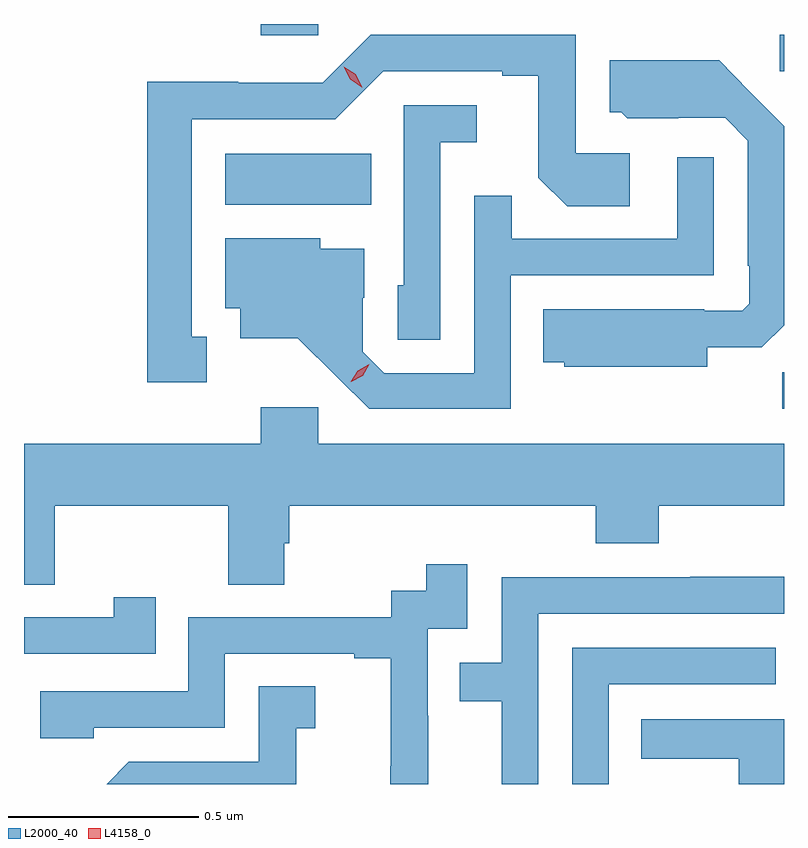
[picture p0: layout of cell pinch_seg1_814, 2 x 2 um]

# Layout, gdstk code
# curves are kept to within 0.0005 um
import gdstk
lib = gdstk.Library(unit=1e-6, precision=1e-09)
def R(c, l, rs):  # rectangles x0, y0, x1, y1
    for r in rs: c.add(gdstk.rectangle(r[:2], r[2:], *l))
def P(c, l, *ps):  # polygons
    for p in ps: c.add(gdstk.Polygon(p, *l))
L2000_40 = (2000, 40)
L4158_0 = (4158, 0)

pinch_seg1_814 = lib.new_cell('pinch_seg1_814')
R(pinch_seg1_814, L2000_40, [(384.592,573.3,384.596,573.395), (383.126,573.836,383.51,573.97), (384.585,574.188,384.596,574.284), (383.219,574.283,383.37,574.312)])
P(pinch_seg1_814, L2000_40, [(383.077,573.489),(383.038,573.489),(383.038,574.062),(383.415,574.062),(383.541,574.188),(383.855,574.188),(383.855,574.176),(383.949,574.176),(383.949,573.908),(384.025,573.832),(384.19,573.832),(384.19,573.972),(384.048,573.972),(384.048,574.284),(383.508,574.284),(383.382,574.158),(383.16,574.158),(383.16,574.16),(382.92,574.16),(382.92,573.369),(383.077,573.369)],
  [(384.394,573.461),(384.538,573.461),(384.596,573.519),(384.596,574.043),(384.425,574.216),(384.137,574.216),(384.137,574.08),(384.168,574.08),(384.184,574.064),(384.318,574.064),(384.318,574.065),(384.441,574.065),(384.501,574.005),(384.501,573.676),(384.504,573.676),(384.504,573.576),(384.486,573.558),(384.386,573.558),(384.386,573.562),(383.962,573.562),(383.962,573.422),(384.018,573.422),(384.018,573.41),(384.394,573.41)],
  [(383.691,574.001),(383.788,574.001),(383.788,574.098),(383.595,574.098),(383.595,573.624),(383.58,573.624),(383.58,573.481),(383.691,573.481)],
  [(383.877,573.651),(384.411,573.651),(384.411,573.961),(384.315,573.961),(384.315,573.747),(383.879,573.747),(383.879,573.86),(383.781,573.86),(383.781,573.393),(383.544,573.393),(383.487,573.45),(383.487,573.592),(383.491,573.592),(383.491,573.721),(383.376,573.721),(383.376,573.748),(383.126,573.748),(383.126,573.564),(383.165,573.564),(383.165,573.485),(383.317,573.485),(383.504,573.3),(383.877,573.3)],
  [(382.596,572.836),(382.677,572.836),(382.677,573.044),(383.134,573.044),(383.134,572.836),(383.281,572.836),(383.281,572.946),(383.294,572.946),(383.294,573.044),(384.101,573.044),(384.101,572.945),(384.266,572.945),(384.266,573.044),(384.596,573.044),(384.596,573.208),(383.37,573.208),(383.37,573.304),(383.219,573.304),(383.219,573.208),(382.596,573.208)],
  [(383.66,572.492),(383.658,572.492),(383.658,572.721),(383.763,572.721),(383.763,572.89),(383.655,572.89),(383.655,572.82),(383.562,572.82),(383.562,572.751),(383.028,572.751),(383.028,572.556),(382.639,572.556),(382.639,572.433),(382.779,572.433),(382.779,572.46),(383.124,572.46),(383.124,572.655),(383.465,572.655),(383.465,572.643),(383.561,572.643),(383.561,572.359),(383.56,572.359),(383.56,572.312),(383.66,572.312)],
  [(383.949,572.76),(384.596,572.76),(384.596,572.858),(384.349,572.858),(384.349,572.856),(383.853,572.856),(383.853,572.631),(383.743,572.631),(383.743,572.53),(383.853,572.53),(383.853,572.312),(383.949,572.312)],
  [(382.943,572.803),(382.832,572.803),(382.832,572.751),(382.596,572.751),(382.596,572.655),(382.943,572.655)],
  [(384.135,572.574),(384.574,572.574),(384.574,572.67),(384.039,572.67),(384.039,572.312),(384.135,572.312)],
  [(383.313,572.459),(383.362,572.459),(383.362,572.569),(383.214,572.569),(383.214,572.37),(382.872,572.37),(382.814,572.312),(383.313,572.312)],
  [(384.596,572.482),(384.22,572.482),(384.22,572.378),(384.477,572.378),(384.477,572.312),(384.596,572.312)])
P(pinch_seg1_814, L4158_0, [(383.456,573.37),(383.456,573.37),(383.474,573.4),(383.505,573.416),(383.505,573.416),(383.505,573.416),(383.488,573.386),(383.457,573.37)],
  [(383.485,574.146),(383.454,574.166),(383.438,574.199),(383.438,574.2),(383.438,574.2),(383.469,574.18),(383.486,574.146),(383.486,574.146)])

lib.write_gds('pinch_seg1_814.gds')
